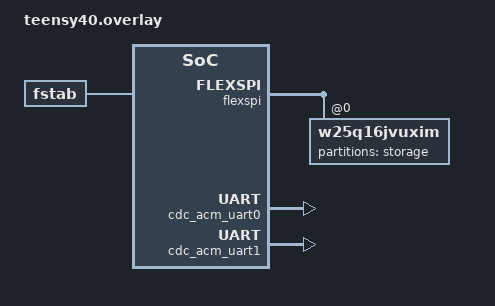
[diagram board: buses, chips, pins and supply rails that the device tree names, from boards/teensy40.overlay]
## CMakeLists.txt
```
cmake_minimum_required(VERSION 3.13.1)
find_package(Zephyr REQUIRED HINTS $ENV{ZEPHYR_BASE})
project(klutshnik LANGUAGES C)

target_sources(app PRIVATE src/main.c src/ble.c src/uart.c src/shell.c)
```

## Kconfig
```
# Copyright (c) 2021 Nordic Semiconductor ASA
# SPDX-License-Identifier: Apache-2.0
#
# This file is the application Kconfig entry point. All application Kconfig
# options can be defined here or included via other application Kconfig files.
# You can browse these options using the west targets menuconfig (terminal) or
# guiconfig (GUI).

choice KLUTSHNIK_INTERFACE
        prompt "USE BLE or USB for klutshnik operations"
        help
          Select which communication medium to use with your klutshnik device

 config KLUTSHNIK_BLE
         bool "Whether to enable BLE interface of klutshnik"
         depends on BT_PERIPHERAL
         help
           If set to true, klutshnik will use Bluetooth LE for primary communication with the client.

 config KLUTSHNIK_USB_CDC
         bool "wether to enable the USB CDC/ACM interface of klutshnik"

endchoice # KLUTSHNIK_INTERFACE

menu "Zephyr"
source "Kconfig.zephyr"
endmenu

module = KLUTSHNIK
module-str = Klutshnik module
source "subsys/logging/Kconfig.template.log_config"
```

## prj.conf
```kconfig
# Copyright (c) 2021 Nordic Semiconductor ASA
# SPDX-License-Identifier: Apache-2.0
#
# This file contains selected Kconfig options for the application.

CONFIG_LIBSODIUM=y
CONFIG_LIBOPRF=y
CONFIG_ENTROPY_GENERATOR=y
CONFIG_ENTROPY_DEVICE_RANDOM_GENERATOR=y
CONFIG_LIBSODIUM_USE_ZEPHYR_RANDOM=y
CONFIG_LIBSODIUM_FULL=y
#CONFIG_LIBSODIUM_CUSTOM_MEMORY=y
CONFIG_PICOLIBC_MODULE=y
#CONFIG_BOOTLOADER_MCUBOOT=y
CONFIG_BASE64=y
CONFIG_REBOOT=y
#CONFIG_DEBUG_THREAD_INFO=y
CONFIG_MAIN_STACK_SIZE=32768

CONFIG_ESP32_BT_CONTROLLER_STACK_SIZE=16384
CONFIG_BT=y
CONFIG_BT_PERIPHERAL=y
CONFIG_BT_ZEPHYR_NUS=y
CONFIG_BT_MAX_CONN=2
CONFIG_BT_MAX_PAIRED=1
CONFIG_BT_DEVICE_NAME="klutshnik ble"
CONFIG_BT_EXT_ADV=y

# Enable bonding
#CONFIG_BT_SETTINGS=y
CONFIG_FLASH=y
CONFIG_FLASH_PAGE_LAYOUT=y
CONFIG_FLASH_MAP=y
CONFIG_FILE_SYSTEM=y
CONFIG_FILE_SYSTEM_LITTLEFS=y
CONFIG_FILE_SYSTEM_MKFS=y

#CONFIG_SYSTEM_WORKQUEUE_STACK_SIZE=2048

#CONFIG_HEAP_MEM_POOL_SIZE=1536

CONFIG_THREAD_NAME=y
CONFIG_THREAD_ANALYZER=y
CONFIG_THREAD_ANALYZER_AUTO=y
CONFIG_THREAD_ANALYZER_RUN_UNLOCKED=y
CONFIG_THREAD_ANALYZER_USE_PRINTK=y

# Disable Bluetooth features not needed
CONFIG_BT_DEBUG_NONE=y
CONFIG_BT_ASSERT=n
CONFIG_BT_DATA_LEN_UPDATE=n
CONFIG_BT_PHY_UPDATE=n
CONFIG_BT_GATT_CACHING=n
CONFIG_BT_GATT_SERVICE_CHANGED=n
CONFIG_BT_GAP_PERIPHERAL_PREF_PARAMS=n
#CONFIG_BT_SETTINGS_CCC_LAZY_LOADING=y
#CONFIG_BT_GATT_ENFORCE_SUBSCRIPTION=n
CONFIG_BT_HCI_VS=n

# Disable Bluetooth controller features not needed
CONFIG_BT_CTLR_PRIVACY=n
CONFIG_BT_CTLR_PHY_2M=n

# Reduce Bluetooth buffers
CONFIG_BT_BUF_EVT_DISCARDABLE_COUNT=1
#CONFIG_BT_BUF_EVT_DISCARDABLE_SIZE=43
CONFIG_BT_BUF_EVT_DISCARDABLE_SIZE=58
CONFIG_BT_BUF_EVT_RX_COUNT=4

CONFIG_BT_CONN_TX_MAX=3
CONFIG_BT_L2CAP_TX_BUF_COUNT=2
CONFIG_BT_ATT_TX_COUNT=2
CONFIG_BT_BUF_ACL_TX_COUNT=3
CONFIG_BT_BUF_ACL_TX_SIZE=27

#CONFIG_NET_BUF_LOG=y
#CONFIG_NET_BUF_LOG_LEVEL_WRN=y
#CONFIG_NET_BUF_POOL_USAGE=y
CONFIG_LOG=y
CONFIG_LOG_DEFAULT_LEVEL=2
#CONFIG_LOG_BACKEND_UART=y
CONFIG_KLUTSHNIK_LOG_LEVEL_INF=y
CONFIG_KLUTSHNIK_LOG_LEVEL_DBG=y
CONFIG_LOG_PRINTK=y
CONFIG_LOG_BUFFER_SIZE=4096
#CONFIG_LOG_MODE_IMMEDIATE=y

#CONFIG_STDOUT_CONSOLE=y
#CONFIG_USB_DEVICE_STACK=y
#CONFIG_USB_DEVICE_BOS=y
#CONFIG_USB_DEVICE_PRODUCT="Klutshnik for Zephyr"
#CONFIG_USB_DEVICE_PID=0x000A
#CONFIG_UART_INTERRUPT_DRIVEN=y
#CONFIG_UART_LINE_CTRL=y
#CONFIG_USB_DRIVER_LOG_LEVEL_ERR=y
#CONFIG_USB_DEVICE_LOG_LEVEL_ERR=y
#CONFIG_USB_DEVICE_INITIALIZE_AT_BOOT=n
#CONFIG_SERIAL=y
#CONFIG_USB_MASS_STORAGE=y
#CONFIG_USB_MASS_STORAGE_LOG_LEVEL_ERR=y

#CONFIG_USBD_MSC_CLASS=y
#CONFIG_USBD_MSC_LUNS_PER_INSTANCE=3
#CONFIG_USBD_LOG_LEVEL_WRN=y
#CONFIG_UDC_DRIVER_LOG_LEVEL_WRN=y

# hardening
#CONFIG_BOOT_BANNER=n
#CONFIG_STACK_CANARIES=y
#CONFIG_STACK_POINTER_RANDOM=100
#CONFIG_PRINTK=n
#CONFIG_EARLY_CONSOLE=n
#CONFIG_OVERRIDE_FRAME_POINTER_DEFAULT=y
#CONFIG_LOG=n
#CONFIG_BUILD_OUTPUT_STRIPPED=y
#CONFIG_FAULT_DUMP=0
#CONFIG_STACK_SENTINEL=y

#shell
#CONFIG_SHELL=y
#CONFIG_FILE_SYSTEM_SHELL=y

#CONFIG_UART_INTERRUPT_DRIVEN=y
```

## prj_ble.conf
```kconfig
# Copyright (c) 2021 Nordic Semiconductor ASA
# SPDX-License-Identifier: Apache-2.0
#
# This file contains selected Kconfig options for the application.

CONFIG_LIBSODIUM=y
CONFIG_LIBOPRF=y
CONFIG_ENTROPY_GENERATOR=y
CONFIG_ENTROPY_DEVICE_RANDOM_GENERATOR=y
CONFIG_LIBSODIUM_USE_ZEPHYR_RANDOM=y
CONFIG_LIBSODIUM_FULL=y
#CONFIG_LIBSODIUM_CUSTOM_MEMORY=y
CONFIG_PICOLIBC_MODULE=y
#CONFIG_BOOTLOADER_MCUBOOT=y
CONFIG_BASE64=y
CONFIG_REBOOT=y
CONFIG_MAIN_STACK_SIZE=65536

# todo check if this should come from boards/xiao_esp32s3_procpu.conf instead
CONFIG_ESP32_BT_CONTROLLER_STACK_SIZE=16384
CONFIG_BT=y
CONFIG_BT_PERIPHERAL=y
CONFIG_BT_ZEPHYR_NUS=y
CONFIG_BT_MAX_CONN=2
CONFIG_BT_MAX_PAIRED=1
CONFIG_BT_DEVICE_NAME="klutshnik ble"
CONFIG_BT_EXT_ADV=y

# Enable bonding
#CONFIG_SETTINGS=y
#CONFIG_BT_SETTINGS=y
CONFIG_FLASH=y
CONFIG_FLASH_PAGE_LAYOUT=y
CONFIG_FLASH_MAP=y
CONFIG_FILE_SYSTEM=y
CONFIG_FILE_SYSTEM_LITTLEFS=y
CONFIG_FILE_SYSTEM_MKFS=y

#CONFIG_SYSTEM_WORKQUEUE_STACK_SIZE=2048

CONFIG_HEAP_MEM_POOL_SIZE=65536

# Disable Bluetooth features not needed
CONFIG_BT_DEBUG_NONE=y
CONFIG_BT_ASSERT=n
CONFIG_BT_DATA_LEN_UPDATE=n
CONFIG_BT_PHY_UPDATE=n
CONFIG_BT_GATT_CACHING=n
CONFIG_BT_GATT_SERVICE_CHANGED=n
CONFIG_BT_GAP_PERIPHERAL_PREF_PARAMS=n
#CONFIG_BT_SETTINGS_CCC_LAZY_LOADING=y
#CONFIG_BT_GATT_ENFORCE_SUBSCRIPTION=n
CONFIG_BT_HCI_VS=n

# Disable Bluetooth controller features not needed
CONFIG_BT_CTLR_PRIVACY=n
CONFIG_BT_PRIVACY=n
CONFIG_BT_CTLR_PHY_2M=n

# Reduce Bluetooth buffers
CONFIG_BT_BUF_EVT_DISCARDABLE_COUNT=1
#CONFIG_BT_BUF_EVT_DISCARDABLE_SIZE=43
CONFIG_BT_BUF_EVT_DISCARDABLE_SIZE=58
CONFIG_BT_BUF_EVT_RX_COUNT=4

CONFIG_BT_CONN_TX_MAX=3
CONFIG_BT_L2CAP_TX_BUF_COUNT=2
CONFIG_BT_ATT_TX_COUNT=2
CONFIG_BT_BUF_ACL_TX_COUNT=3
CONFIG_BT_BUF_ACL_TX_SIZE=27

CONFIG_LOG=y
CONFIG_LOG_DEFAULT_LEVEL=2
#CONFIG_LOG_BACKEND_UART=y
CONFIG_KLUTSHNIK_LOG_LEVEL_INF=y
CONFIG_KLUTSHNIK_LOG_LEVEL_DBG=y
CONFIG_LOG_PRINTK=y
CONFIG_LOG_BUFFER_SIZE=4096
#CONFIG_LOG_MODE_IMMEDIATE=y

#CONFIG_STDOUT_CONSOLE=y
#CONFIG_USB_DEVICE_STACK=y

# hardening
#CONFIG_BOOT_BANNER=n
CONFIG_STACK_CANARIES=y
CONFIG_STACK_POINTER_RANDOM=100
#CONFIG_PRINTK=n
#CONFIG_EARLY_CONSOLE=n
#CONFIG_OVERRIDE_FRAME_POINTER_DEFAULT=y
#CONFIG_LOG=n
#CONFIG_BUILD_OUTPUT_STRIPPED=y
#CONFIG_FAULT_DUMP=0
CONFIG_STACK_SENTINEL=y

#shell
CONFIG_SHELL=y
CONFIG_SHELL_MINIMAL=y
CONFIG_SHELL_TAB=y
CONFIG_SHELL_TAB_AUTOCOMPLETION=y
CONFIG_SHELL_HISTORY=y
CONFIG_SHELL_METAKEYS=y
CONFIG_SHELL_LOG_BACKEND=y
CONFIG_FILE_SYSTEM_SHELL=y
CONFIG_SHELL_STACK_SIZE=4096
CONFIG_SHELL_PROMPT_UART="klutshnik # "
CONFIG_SHELL_DEFAULT_TERMINAL_WIDTH=128
CONFIG_SHELL_BACKEND_SERIAL_RX_RING_BUFFER_SIZE=128

#CONFIG_KERNEL_SHELL=y
#CONFIG_SYS_HEAP_RUNTIME_STATS=y
#CONFIG_SYS_HEAP_LISTENER=y
#CONFIG_DEBUG_THREAD_INFO=y

# thread analyzer
#CONFIG_THREAD_NAME=y
#CONFIG_THREAD_ANALYZER=y
#CONFIG_THREAD_ANALYZER_AUTO=y
#CONFIG_THREAD_ANALYZER_RUN_UNLOCKED=y
#CONFIG_THREAD_ANALYZER_USE_PRINTK=y

#CONFIG_NET_BUF_LOG=y
#CONFIG_NET_BUF_LOG_LEVEL_WRN=y
#CONFIG_NET_BUF_POOL_USAGE=y
```

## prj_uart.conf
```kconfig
# Copyright (c) 2021 Nordic Semiconductor ASA
# SPDX-License-Identifier: Apache-2.0
#
# This file contains selected Kconfig options for the application.

CONFIG_LIBSODIUM=y
CONFIG_LIBOPRF=y
CONFIG_ENTROPY_GENERATOR=y
CONFIG_ENTROPY_DEVICE_RANDOM_GENERATOR=y
CONFIG_LIBSODIUM_USE_ZEPHYR_RANDOM=y
CONFIG_LIBSODIUM_FULL=y
#CONFIG_LIBSODIUM_CUSTOM_MEMORY=y
CONFIG_PICOLIBC_MODULE=y
#CONFIG_BOOTLOADER_MCUBOOT=y
CONFIG_BASE64=y
CONFIG_REBOOT=y
CONFIG_MAIN_STACK_SIZE=65536

CONFIG_FLASH=y
CONFIG_FLASH_PAGE_LAYOUT=y
CONFIG_FLASH_MAP=y
CONFIG_FILE_SYSTEM=y
CONFIG_FILE_SYSTEM_LITTLEFS=y
CONFIG_FILE_SYSTEM_MKFS=y

#CONFIG_SYSTEM_WORKQUEUE_STACK_SIZE=2048

CONFIG_HEAP_MEM_POOL_SIZE=65536



CONFIG_LOG=y
CONFIG_LOG_DEFAULT_LEVEL=2
#CONFIG_LOG_BACKEND_UART=y
CONFIG_KLUTSHNIK_LOG_LEVEL_INF=y
CONFIG_KLUTSHNIK_LOG_LEVEL_DBG=y
CONFIG_LOG_PRINTK=y
CONFIG_LOG_BUFFER_SIZE=4096
#CONFIG_LOG_MODE_IMMEDIATE=y

#CONFIG_STDOUT_CONSOLE=y
CONFIG_USB_DEVICE_STACK=y
CONFIG_USB_CDC_ACM=y
#CONFIG_USB_DEVICE_BOS=y
CONFIG_USB_DEVICE_PRODUCT="Klutshnik for Zephyr"
CONFIG_USB_DEVICE_PID=0x000A
CONFIG_UART_INTERRUPT_DRIVEN=y
CONFIG_UART_LINE_CTRL=y
#CONFIG_USB_DRIVER_LOG_LEVEL_ERR=y
#CONFIG_USB_DEVICE_LOG_LEVEL_ERR=y
CONFIG_USB_DEVICE_INITIALIZE_AT_BOOT=y
CONFIG_SERIAL=y
#CONFIG_USBD_CDC_ACM_STACK_SIZE
#CONFIG_USBD_CDC_ACM_WORKQUEUE
CONFIG_USB_CDC_ACM_RINGBUF_SIZE=8129

# hardening
#CONFIG_BOOT_BANNER=n
CONFIG_STACK_CANARIES=y
CONFIG_STACK_POINTER_RANDOM=100
#CONFIG_PRINTK=n
#CONFIG_EARLY_CONSOLE=n
#CONFIG_OVERRIDE_FRAME_POINTER_DEFAULT=y
#CONFIG_LOG=n
#CONFIG_BUILD_OUTPUT_STRIPPED=y
#CONFIG_FAULT_DUMP=0
CONFIG_STACK_SENTINEL=y

#shell
CONFIG_SHELL=y
CONFIG_SHELL_MINIMAL=y
CONFIG_SHELL_TAB=y
CONFIG_SHELL_TAB_AUTOCOMPLETION=y
CONFIG_SHELL_HISTORY=y
CONFIG_SHELL_METAKEYS=y
CONFIG_SHELL_LOG_BACKEND=y
CONFIG_FILE_SYSTEM_SHELL=y
CONFIG_SHELL_STACK_SIZE=4096
CONFIG_SHELL_PROMPT_UART="klutshnik # "
CONFIG_SHELL_DEFAULT_TERMINAL_WIDTH=128
CONFIG_SHELL_BACKEND_SERIAL_RX_RING_BUFFER_SIZE=128

#CONFIG_KERNEL_SHELL=y
#CONFIG_SYS_HEAP_RUNTIME_STATS=y
#CONFIG_SYS_HEAP_LISTENER=y
#CONFIG_DEBUG_THREAD_INFO=y

# thread analyzer
#CONFIG_THREAD_NAME=y
#CONFIG_THREAD_ANALYZER=y
#CONFIG_THREAD_ANALYZER_AUTO=y
#CONFIG_THREAD_ANALYZER_RUN_UNLOCKED=y
#CONFIG_THREAD_ANALYZER_USE_PRINTK=y

#CONFIG_NET_BUF_LOG=y
#CONFIG_NET_BUF_LOG_LEVEL_WRN=y
#CONFIG_NET_BUF_POOL_USAGE=y
```

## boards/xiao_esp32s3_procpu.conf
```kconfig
CONFIG_ESP32_BT_CONTROLLER_STACK_SIZE=16384
```

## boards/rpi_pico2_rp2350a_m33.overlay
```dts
///delete-node/ &code_partition;

/ {
 fstab {
  compatible = "zephyr,fstab";
  lfs1: lfs1 {
      compatible = "zephyr,fstab,littlefs";
      mount-point = "/lfs";
      partition = <&lfs1_partition>;
      automount;
      read-size = <16>;
      prog-size = <16>;
      cache-size = <256>;
      lookahead-size = <32>;
      block-cycles = <512>;
  };
 };
 chosen {
    //zephyr,console = &cdc_acm_uart0;
    zephyr,shell-uart = &cdc_acm_uart0;
    zephyr,flash-controller = &qmi;
	 zephyr,flash = &flash0;
 };
};

&flash0 {
	partitions {
      compatible = "fixed-partitions";
      #address-cells = <1>;
      #size-cells = <1>;

		/* Reserved memory for an image definition block. The block is much
		* smaller than 256 bytes, but in practice the linker places the vector
		* table at a much larger alignment offset.
		*/
		image_def: partition@0 {
			label = "image_def";
			reg = <0x00000000 0x100>;
			read-only;
		};

		/*
		* Usable flash. Starts at 0x100, after the image definition block.
		* The partition size is 4MB minus the 0x100 bytes taken by the
		* image definition.
		*/
		code_partition: partition@100 {
			label = "code-partition";
			reg = <0x100 (DT_SIZE_M(2) - 0x100)>;
			read-only;
		};

      /* Use second half of flash for the filesystem. */
      lfs1_partition: partition@200000 {
         label = "storage";
         reg = <0x200000 DT_SIZE_M(2)>;
		};
	};
};

&zephyr_udc0 {
	cdc_acm_uart0: cdc_acm_uart0 {
		compatible = "zephyr,cdc-acm-uart";
	};
	cdc_acm_uart1: cdc_acm_uart1 {
		compatible = "zephyr,cdc-acm-uart";
	};
};
```

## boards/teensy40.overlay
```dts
/ {
 fstab {
     compatible = "zephyr,fstab";
     lfs1: lfs1 {
         compatible = "zephyr,fstab,littlefs";
         mount-point = "/lfs";
         partition = <&lfs1_partition>;
         automount;
         read-size = <16>;
         prog-size = <16>;
         cache-size = <256>;
         lookahead-size = <32>;
         block-cycles = <512>;
     };
 };
 chosen {
    //zephyr,console = &cdc_acm_uart0;
    zephyr,shell-uart = &cdc_acm_uart0;
 };
};

/* 64MB flash */
&flexspi {
	/* WINBOND flash memory*/
	w25q16jvuxim: w25q16jvuxim@0 {
      partitions {
         compatible = "fixed-partitions";
         #address-cells = <1>;
         #size-cells = <1>;

         /* Use second half of flash for the filesystem. */
         lfs1_partition: partition@400000 {
            label = "storage";
            reg = <0x100000 DT_SIZE_M(1)>;
         };
      };
	};
};

&zephyr_udc0 {
	cdc_acm_uart0: cdc_acm_uart0 {
		compatible = "zephyr,cdc-acm-uart";
	};
	cdc_acm_uart1: cdc_acm_uart1 {
		compatible = "zephyr,cdc-acm-uart";
	};
};
```

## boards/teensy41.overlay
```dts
/ {
 fstab {
     compatible = "zephyr,fstab";
     lfs1: lfs1 {
         compatible = "zephyr,fstab,littlefs";
         mount-point = "/lfs";
         partition = <&lfs1_partition>;
         automount;
         read-size = <16>;
         prog-size = <16>;
         cache-size = <256>;
         lookahead-size = <32>;
         block-cycles = <512>;
     };
 };
 chosen {
    //zephyr,console = &cdc_acm_uart0;
    zephyr,shell-uart = &cdc_acm_uart0;
 };
};

/* 64MB flash */
&flexspi {
	/* WINBOND flash memory*/
	w25q64jvxgim: w25q64jvxgim@0 {
      partitions {
         compatible = "fixed-partitions";
         #address-cells = <1>;
         #size-cells = <1>;

         /* Use second half of flash for the filesystem. */
         lfs1_partition: partition@400000 {
            label = "storage";
            reg = <0x400000 DT_SIZE_M(4)>;
         };
      };
	};
};

&zephyr_udc0 {
	cdc_acm_uart0: cdc_acm_uart0 {
		compatible = "zephyr,cdc-acm-uart";
	};
	cdc_acm_uart1: cdc_acm_uart1 {
		compatible = "zephyr,cdc-acm-uart";
	};
};
```

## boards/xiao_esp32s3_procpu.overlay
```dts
/delete-node/ &storage_partition;

/ {
 fstab {
     compatible = "zephyr,fstab";
     lfs1: lfs1 {
         compatible = "zephyr,fstab,littlefs";
         mount-point = "/lfs";
         partition = <&lfs1_partition>;
         automount;
         read-size = <16>;
         prog-size = <16>;
         cache-size = <256>;
         lookahead-size = <32>;
         block-cycles = <512>;
     };
 };
};

/* 4MB flash */
&flash0 {
   reg = <0x0 DT_SIZE_M(8)>;
   partitions {
      compatible = "fixed-partitions";
      #address-cells = <1>;
      #size-cells = <1>;

      /* Use second half of flash for the filesystem. */
      lfs1_partition: partition@400000 {
         label = "storage";
         reg = <0x400000 DT_SIZE_M(4)>;
      };
   };
};
```

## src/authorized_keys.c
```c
static const AuthKeys authkeys[] = {
   { .keyid = { 0x39, 0x4c, 0x6d, 0x8a, 0x94, 0xa6, 0x6e, 0x85, 0xd0, 0x2c, 0x21, 0x47, 0x12, 0xae, 0x91, 0xce, 0x7b, 0xe4, 0x25, 0xfb, 0x26, 0xef, 0xd1, 0x3b, 0xa1, 0x84, 0x94, 0x51, 0x15, 0xdf, 0xed, 0xa5 },
     .ltsig = { 0xf2, 0xe1, 0xf4, 0xfa, 0xb4, 0x79, 0x28, 0xd7, 0x5b, 0x24, 0xfa, 0xfb, 0xf8, 0x04, 0x4e, 0x6c, 0x73, 0xc4, 0xbb, 0x85, 0x7f, 0x77, 0xaa, 0xaa, 0xa8, 0x3c, 0x61, 0x7a, 0xc8, 0xe5, 0xd9, 0xc8 },
     .noise = { 0xa1, 0x00, 0x08, 0xe6, 0x54, 0xcc, 0x2f, 0x71, 0xb0, 0x7e, 0x2e, 0x14, 0x2f, 0x3b, 0xb0, 0x05, 0xec, 0x14, 0x16, 0xf7, 0x6a, 0x7e, 0xc5, 0x03, 0xdb, 0x16, 0x1a, 0x82, 0xa1, 0x7f, 0x2f, 0x34 }},
   { .keyid = { 0x66, 0x05, 0xe3, 0x9d, 0x22, 0x54, 0x36, 0x98, 0xb2, 0x7e, 0x0d, 0x77, 0x86, 0x3f, 0x2b, 0x65, 0xfd, 0x7d, 0xf2, 0xf7, 0xfe, 0x9c, 0x3f, 0x43, 0x09, 0xcd, 0xc6, 0x5b, 0xde, 0x1a, 0x53, 0x61 },
     .ltsig = { 0xcf, 0x2f, 0x5c, 0x78, 0x4c, 0x73, 0x85, 0x70, 0x7c, 0xcc, 0xaf, 0x45, 0x43, 0x0b, 0xfb, 0x8e, 0x86, 0x6c, 0x55, 0x74, 0xdf, 0x23, 0x6a, 0x7e, 0x0c, 0x43, 0x19, 0x63, 0x21, 0xbd, 0xea, 0xe9 },
     .noise = { 0x0b, 0x76, 0xae, 0xe6, 0x24, 0xcc, 0x99, 0x93, 0x99, 0x63, 0x7b, 0x45, 0x85, 0xe8, 0xe6, 0x1a, 0x1c, 0x2f, 0xc2, 0x08, 0x97, 0x40, 0x05, 0xf8, 0x7c, 0xad, 0xb1, 0x9e, 0xdc, 0x9b, 0x6a, 0x05 }},
   { .keyid = { 0x37, 0xb1, 0x13, 0x7e, 0xdc, 0x81, 0xf0, 0xcf, 0x27, 0x5b, 0xf2, 0x67, 0x86, 0xb2, 0x76, 0xaf, 0x6b, 0x07, 0xf9, 0x4e, 0x29, 0xf6, 0x85, 0xa4, 0x23, 0x5b, 0x07, 0x16, 0x7b, 0xc2, 0x5b, 0x4e },
     .ltsig = { 0xcd, 0x04, 0xf3, 0x98, 0x11, 0x91, 0x1d, 0x01, 0x01, 0x84, 0xe7, 0xce, 0x04, 0xdd, 0xd0, 0x61, 0xcb, 0x36, 0xa8, 0xb0, 0xa8, 0x53, 0x81, 0x77, 0xcf, 0x0a, 0xf0, 0x4d, 0xe0, 0x6c, 0x0c, 0x54 },
     .noise = { 0xc5, 0x8d, 0x85, 0x3c, 0xaf, 0xdc, 0xbc, 0x31, 0x63, 0x0f, 0x3a, 0xd0, 0x5c, 0xf1, 0x4f, 0x7d, 0xe5, 0xb0, 0x02, 0x9c, 0xff, 0xc9, 0x43, 0x2e, 0x25, 0xdb, 0xf2, 0x28, 0x87, 0xf2, 0x25, 0x20 }},
   { .keyid = { 0x92, 0x37, 0x87, 0x78, 0x05, 0x22, 0x13, 0x2a, 0xc3, 0x37, 0xe5, 0xd8, 0xf9, 0x63, 0xee, 0xbc, 0xbc, 0xa3, 0x70, 0x7f, 0x88, 0x76, 0xae, 0xb0, 0xba, 0xd1, 0xcb, 0x22, 0x2b, 0xe7, 0x87, 0x97 },
     .ltsig = { 0xe1, 0xc0, 0x61, 0x12, 0x76, 0x19, 0x38, 0xa7, 0x1a, 0x71, 0xd0, 0x07, 0xca, 0x38, 0x14, 0xe7, 0xbc, 0x1d, 0x18, 0x05, 0xa2, 0xd9, 0x60, 0xb1, 0xd1, 0xc9, 0xcd, 0x9a, 0xb8, 0xd8, 0x6f, 0x80 },
     .noise = { 0xdb, 0x05, 0xd5, 0x4f, 0xae, 0x6e, 0xa6, 0x13, 0x0b, 0x42, 0x64, 0xdd, 0x91, 0xbd, 0x39, 0x50, 0x71, 0x49, 0x86, 0xe7, 0xe1, 0x74, 0xe9, 0x7d, 0xc7, 0xf4, 0xad, 0x27, 0x6e, 0x34, 0xd8, 0x64 }},
   { .keyid = { 0x52, 0xa9, 0x75, 0x37, 0x2c, 0xbf, 0x8e, 0xdf, 0xd4, 0x49, 0x42, 0x8f, 0xfa, 0xc4, 0xa8, 0xfc, 0x97, 0x27, 0x75, 0xc8, 0x37, 0x95, 0x62, 0xa6, 0x31, 0xe3, 0x0f, 0x4d, 0x37, 0x5a, 0x9d, 0xaf },
     .ltsig = { 0xee, 0x2d, 0x62, 0xe1, 0xca, 0x0d, 0x7c, 0x4b, 0x9a, 0x81, 0xde, 0xa5, 0x89, 0x0e, 0x66, 0x5c, 0xf3, 0xf3, 0x81, 0x47, 0x4c, 0x94, 0x44, 0x2c, 0xdf, 0x0e, 0xd8, 0x7f, 0x5d, 0xbf, 0x58, 0xde },
     .noise = { 0x41, 0x4b, 0xe2, 0xcf, 0xa7, 0x03, 0xfe, 0xf7, 0xd9, 0xc3, 0xe3, 0x28, 0xd7, 0x92, 0x91, 0x01, 0xac, 0x75, 0xfb, 0x11, 0xe4, 0x2c, 0xa3, 0xd8, 0xc0, 0x04, 0x04, 0x77, 0xba, 0x35, 0xb5, 0x03 }},
   { .keyid = { 0x09, 0xc2, 0xec, 0xfe, 0x94, 0x48, 0xc7, 0xd2, 0x7f, 0x6a, 0xf1, 0x8c, 0x1d, 0x8e, 0x42, 0x38, 0xc3, 0x30, 0xa1, 0x32, 0x05, 0x98, 0x74, 0xbf, 0xed, 0x36, 0x36, 0x41, 0xba, 0x1e, 0xb2, 0x81 },
     .ltsig = { 0x67, 0xd4, 0x62, 0x80, 0xd0, 0x47, 0x79, 0x21, 0xf8, 0x1f, 0xf9, 0xa4, 0x21, 0xff, 0x86, 0x01, 0xee, 0xff, 0x85, 0x16, 0x70, 0xf4, 0xe0, 0xa4, 0x2b, 0x0b, 0xf5, 0x01, 0x71, 0x83, 0x72, 0x5e },
     .noise = { 0x87, 0x8c, 0x8e, 0x56, 0x5f, 0x3c, 0xb7, 0xc4, 0xbd, 0x16, 0x88, 0xbd, 0x7d, 0x5c, 0x52, 0xbe, 0x31, 0x69, 0xda, 0xf6, 0x5d, 0x5b, 0xe4, 0x14, 0xe9, 0xc3, 0x83, 0x11, 0x39, 0xe6, 0x4c, 0x13 }}
};
```

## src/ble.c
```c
/*
 * SPDX-FileCopyrightText: 2025, Marsiske Stefan
 * SPDX-License-Identifier: LGPL-3.0-or-later
 */

#ifdef CONFIG_KLUTSHNIK_BLE

#include <zephyr/bluetooth/bluetooth.h>
#include <zephyr/bluetooth/services/nus.h>
#include <zephyr/fs/fs.h>
#include <zephyr/logging/log.h>
#include <zephyr/logging/log_ctrl.h>
#include <zephyr/sys/reboot.h>

#include <stdlib.h>
#include "XK.h"

#include "klutshnik.h"

LOG_MODULE_REGISTER(klutshnik_ble, CONFIG_KLUTSHNIK_LOG_LEVEL);

#define MTU 20
#define DEVICE_NAME		CONFIG_BT_DEVICE_NAME
#define DEVICE_NAME_LEN	(sizeof(DEVICE_NAME) - 1)

static struct bt_conn *bt_c=NULL;

static const struct bt_data ad[] = {
	BT_DATA_BYTES(BT_DATA_FLAGS, (BT_LE_AD_GENERAL | BT_LE_AD_NO_BREDR)),
	BT_DATA(BT_DATA_NAME_COMPLETE, DEVICE_NAME, DEVICE_NAME_LEN),
};

static const struct bt_data sd[] = {
	BT_DATA_BYTES(BT_DATA_UUID128_ALL, BT_UUID_NUS_SRV_VAL),
};

static void notif_enabled(bool enabled, void *ctx) {
	ARG_UNUSED(ctx);
	LOG_INF("%s() - %s", __func__, (enabled ? "Enabled" : "Disabled"));
}

static void received(struct bt_conn *conn, const void *data, uint16_t len, void *ctx) {
	ARG_UNUSED(conn);
	ARG_UNUSED(ctx);

   if(kstate!=CONNECTED) {
     LOG_ERR("received %d bytes, but we are in disconnected state", len);
     return;
   }
   if(len + inbuf_end<sizeof(inbuf)) {
     //LOG_INF("received: memcpy(%p, %p, %d)", (void*) (inbuf+inbuf_end), (void*) data, len);
     memcpy(inbuf+inbuf_end, data, len);
     inbuf_end+=len;
   } else{
     LOG_ERR("inbuf full, dropping %d bytes", len);
   }
}

struct bt_nus_cb nus_listener = {
	.notif_enabled = notif_enabled,
	.received = received,
};

static void connected(struct bt_conn *conn, uint8_t err) {
  if (err) {
    LOG_ERR("Connection failed (err 0x%02x)", err);
  } else {
    const bt_addr_le_t *addr = bt_conn_get_dst (conn);
    LOG_INF("Connected to %02x-%02x-%02x-%02x-%02x-%02x",
            addr->a.val[0],addr->a.val[1],addr->a.val[2],addr->a.val[3],addr->a.val[4],addr->a.val[5]);
    kstate = CONNECTED;
    bt_c = conn;
  }
}

static void disconnected(struct bt_conn *conn, uint8_t reason) {
  const bt_addr_le_t *addr = bt_conn_get_dst (conn);
  LOG_INF("Disconnected from %02x-%02x-%02x-%02x-%02x-%02x (reason 0x%02x)",
          addr->a.val[0],addr->a.val[1],addr->a.val[2],addr->a.val[3],addr->a.val[4],addr->a.val[5], reason);
  kstate = DISCONNECTED;
  bt_c = NULL;
  inbuf_end=0;
  inbuf_start=0;
}

static void start_adv(void) {
   int err;

   err = bt_le_adv_start(/*BT_LE_ADV_CONN_FAST_1*/BT_LE_ADV_PARAM((BT_LE_ADV_OPT_CONN |
                                                                   BT_LE_ADV_OPT_USE_IDENTITY), /* Connectable advertising and use identity address */
                                                                  BT_GAP_ADV_FAST_INT_MIN_1, /* Min Advertising Interval 30 ms */
                                                                  BT_GAP_ADV_FAST_INT_MAX_1, /* Max Advertising Interval 60 ms */
                                                                  NULL), /* Set to NULL for undirected advertising */
                         ad, ARRAY_SIZE(ad), sd, ARRAY_SIZE(sd));
   if (err) {
      LOG_ERR("Advertising failed to start (err %d)", err);
   } else {
      LOG_DBG("Advertising successfully started");
   }
}


BT_CONN_CB_DEFINE(conn_callbacks) = {
    .connected = connected,
    .disconnected = disconnected,
    .recycled = start_adv,
};

int send_plaintext(const uint8_t *msg, const size_t len) {
  //LOG_DBG("nus_send: %d", len);
  for(size_t ptr = 0;ptr<len;ptr+=20) {
    int err=0;
    const int psize=((len-ptr)>20)?20:(len-ptr);
    do {
      err = bt_nus_send(bt_c, &msg[ptr], psize);
    } while (err == -EAGAIN);
    if(err<0) return err;
  }
  //LOG_DBG("nus_send: done", len);
  return 0;
}

int send(const uint8_t *msg, const size_t msg_len) {
  //LOG_DBG("send: %d", msg_len);
  Noise_XK_encap_message_t *encap_msg=NULL;

  encap_msg = Noise_XK_pack_message_with_conf_level(NOISE_XK_CONF_STRONG_FORWARD_SECRECY, msg_len, (uint8_t*) msg);
  if(encap_msg==NULL) {
    LOG_ERR("send encap_msg==NULL");
    return -1;
  }

  Noise_XK_rcode res;
  uint8_t *cipher_msg;
  uint32_t cipher_msg_len;

  res = Noise_XK_session_write(encap_msg, session, &cipher_msg_len, &cipher_msg);
  Noise_XK_encap_message_p_free(encap_msg);
  if(!Noise_XK_rcode_is_success(res)) {
    LOG_ERR("failed to wrap encrypted message");
    return -1;
  }

  int err= send_plaintext(cipher_msg, cipher_msg_len);
  if (cipher_msg_len > 0) free(cipher_msg);
  if(err == -ENOTCONN) {
    Noise_XK_session_free(session);
    session=NULL;
    Noise_XK_device_free(dev);
    dev=NULL;
    return err;
  } else if (err < 0) {
    LOG_ERR("error sending msg: %d", err);
    log_flush();
    k_sleep(K_MSEC(50));
    sys_reboot(SYS_REBOOT_COLD);
  }

  //LOG_DBG("sent", msg_len);
  return err;
}

int send_pkt(const uint8_t *msg, const size_t msg_len) {
  uint8_t size[2] = { (msg_len >> 8) & 0xff, msg_len & 0xff } ;
  int ret = send(size, 2);
  if(ret < 0) {
    LOG_ERR("failed to send size of message");
    return ret;
  }
  ret = send(msg, msg_len);
  if(ret < 0) {
    LOG_ERR("failed to send message");
    return ret;
  }
  return 0;
}

int read(size_t size, uint8_t **buf) {
  int64_t timeout = 3;
  int64_t start = k_uptime_get();
  size_t plen = 0;
  while(1) {
    if(kstate!=CONNECTED) return -ENOTCONN;
    if (plen == 0 && inbuf_end-inbuf_start>2) {
      plen = (inbuf[inbuf_start]<<8 | inbuf[inbuf_start+1]);
      if(plen >= sizeof(inbuf) - inbuf_start) return -EOVERFLOW;
    }
    if(size!=0) {
      if(inbuf_end-inbuf_start>=size+2+16) {
        if(plen==0 || plen!=size+16) {
          LOG_ERR("E plen: %d, size+16 = %d", plen, size+16);
          return -EMSGSIZE;
        }
        break;
      }
    } else {
      if(plen > 0 && plen <= inbuf_end-inbuf_start) {
        size = plen - 16;
        break;
      }
    }
    int64_t startcopy=start;
    if( k_uptime_delta(&startcopy)/MSEC_PER_SEC > timeout) return -ETIMEDOUT;
    k_sleep(K_MSEC(10));
  }

  Noise_XK_encap_message_t *encap_msg;
  Noise_XK_rcode res;
  uint32_t plain_msg_len;

  res = Noise_XK_session_read(&encap_msg, session, size+16, inbuf+inbuf_start+2);
  if(!Noise_XK_rcode_is_success(res)) {
    LOG_ERR("failed to noise pkt");
    return -1;
  }
  if(!Noise_XK_unpack_message_with_auth_level(&plain_msg_len, buf, NOISE_XK_AUTH_KNOWN_SENDER_NO_KCI, encap_msg)) {
    LOG_ERR("failed to unpack noise pkt");
    Noise_XK_encap_message_p_free(encap_msg);
    return -1;
  }
  Noise_XK_encap_message_p_free(encap_msg);
  if(plain_msg_len!=size) {
    LOG_ERR("pml != s : %d != %d", plain_msg_len, size);
    return -EMSGSIZE;
  }

  inbuf_start += plen+2;
  if(inbuf_start == inbuf_end) {
    inbuf_start=0;
    inbuf_end=0;
  } else if(inbuf_start > inbuf_end) return -EINVAL;

  return plain_msg_len;
}

void reset_ble(void) {
  int err;
  // try switching it off and on again.
  err = bt_le_adv_stop();
  if(err) {
    LOG_ERR("failed to stop advertising: %d\nrebooting...", err);
    log_flush();
    k_sleep(K_MSEC(50));
    sys_reboot(SYS_REBOOT_COLD);
  }
  err = bt_disable();
  if(err) {
    LOG_ERR("failed to disable bt: %d\nrebooting...", err);
    log_flush();
    k_sleep(K_MSEC(50));
    sys_reboot(SYS_REBOOT_COLD);
  }
  inbuf_end=0;
  inbuf_start=0;
  kstate=DISCONNECTED;
  // start again
  err = bt_enable(NULL);
  if (err) {
    LOG_ERR("Failed to enable bluetooth: %d\nrebooting...", err);
    log_flush();
    k_sleep(K_MSEC(50));
    sys_reboot(SYS_REBOOT_COLD);
  }
  start_adv();
}

int ble_disconnect(void) {
  if(bt_c==NULL) return -ENOTCONN;
  return bt_conn_disconnect(bt_c, BT_HCI_ERR_REMOTE_USER_TERM_CONN);
}

int ble_init(CFG *cfg) {
  int err = bt_enable(NULL);
  if (err) {
     LOG_WRN("Failed to enable bluetooth: %d", err);
     return err;
  }

  uint8_t tmp[32];
  Noise_XK_dh_secret_to_public(tmp, cfg->noise_sk);
  printb64("noise pk",32,tmp);
  crypto_sign_ed25519_sk_to_pk(tmp,cfg->ltsig_sk);
  printb64("ltsig pk",32,tmp);

  err = bt_nus_cb_register(&nus_listener, NULL);
  if (err) {
     LOG_WRN("Failed to register NUS callback: %d", err);
     return err;
  }

  start_adv();

  char addr_s[BT_ADDR_LE_STR_LEN];

  struct bt_le_oob oob;
  err = bt_le_oob_get_local(BT_ID_DEFAULT, &oob);
  if (err) {
    LOG_ERR("Failed to get OOB data (err %d)\n", err);
    return err;
  }
  bt_addr_le_to_str(&oob.addr, addr_s, sizeof(addr_s));
  //bt_addr_le_t addr = {0};
  //size_t count = 1;
  //bt_id_get(&addr, &count);
  //bt_addr_le_to_str(&addr, addr_s, sizeof(addr_s));
  LOG_INF("MAC address: %s", addr_s);

  kstate = DISCONNECTED;
  return 0;
}

#endif // CONFIG_KLUTSHNIK_BLE
```

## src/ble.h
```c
#ifndef KLUTSHNIK_BLE_H
#define KLUTSHNIK_BLE_H

#include "klutshnik.h"

int ble_init(CFG *cfg);
void reset_ble(void);
int send_plaintext(const uint8_t *msg, const size_t len);
int ble_disconnect(void);


#endif // KLUTSHNIK_BLE_H
```

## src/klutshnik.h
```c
#ifndef KLUTSHNIK_H
#define KLUTSHNIK_H

#include <stdint.h>
#include <sodium.h>
#include "XK.h"

typedef enum {
  DISCONNECTED,
  CONNECTED,
  //SECURE
} KlutshnikState;

typedef struct {
  uint8_t noise_sk[32];
  uint8_t ltsig_sk[crypto_sign_SECRETKEYBYTES];
  uint8_t rec_salt[32];
} CFG;

typedef struct {
  char *path;
  size_t min;
} InitFiles;

typedef struct {
  uint32_t refs;
  uint8_t key[32];
} __attribute__((__packed__)) NoiseRec;

extern const InitFiles init_files[];

extern KlutshnikState kstate;

extern Noise_XK_session_t *session;
extern Noise_XK_device_t *dev;

#define inbuf_capacity (1024*32)
extern uint8_t inbuf[inbuf_capacity];
extern int inbuf_end;
extern int inbuf_start;

int send(const uint8_t *msg, const size_t msg_len);
int send_pkt(const uint8_t *msg, const size_t msg_len);
int send_plaintext(const uint8_t *msg, const size_t msg_len);
int read(size_t size, uint8_t **buf);
void printb64(const char* prefix, const size_t buf_len, const uint8_t *buf);
int load(const char* path, const size_t buf_len, uint8_t *buf);
int save(const char *path, const size_t key_len, uint8_t *key, const int open_flags);
int init_is_incomplete(void);

#endif // KLUTSHNIK_H
```

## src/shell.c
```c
/*
 * SPDX-FileCopyrightText: 2025, Marsiske Stefan
 * SPDX-License-Identifier: LGPL-3.0-or-later
 */

#include <zephyr/fs/fs.h>
#include <zephyr/shell/shell.h>
#include <zephyr/sys/base64.h>
#include <zephyr/drivers/entropy.h>
#ifdef CONFIG_KLUTSHNIK_BLE
#include <zephyr/bluetooth/bluetooth.h>
#endif

#include <sodium.h>
#include "klutshnik.h"
#include "XK.h"

// todo log(in|out) commands based on challenge-response signed by owner_key

static int getcfg_cmd_handler(const struct shell *sh, size_t argc, char **argv, void *data) {
  int cfgtype = (int)data;

  switch(cfgtype) {
  case 1: {
    uint8_t ltsig_pk[crypto_sign_PUBLICKEYBYTES];
    uint8_t ltsig_seed[crypto_sign_SEEDBYTES];
    if(0!=load("/lfs/cfg/ltsig_seed", crypto_sign_SEEDBYTES, ltsig_seed)) {
      shell_error(sh, "E failed to init ltsig_seed");
      return -1;
    }
    uint8_t ltsig_sk[crypto_sign_SECRETKEYBYTES];
    if(0!=crypto_sign_seed_keypair(ltsig_pk, ltsig_sk, ltsig_seed)) {
      shell_error(sh, "E failed to derive ltsig keypair");
      return -1;
    }
    sodium_memzero(ltsig_sk,sizeof ltsig_sk);
    sodium_memzero(ltsig_seed,sizeof ltsig_seed);
    uint8_t b64[45];
    size_t olen;
    base64_encode(b64,sizeof b64,&olen,ltsig_pk,sizeof ltsig_pk);
    shell_print(sh, "ltsig pk: %s", b64);
    break;
  }
  case 2: {
    uint8_t noise_sk[32];
    if(0!=load("/lfs/cfg/noise_key", 32, noise_sk)) {
      shell_error(sh, "could not load noise key");
      return -1;
    }
    uint8_t noise_pk[32];
    Noise_XK_dh_secret_to_public(noise_pk, noise_sk);
    uint8_t b64[45];
    size_t olen;
    base64_encode(b64,sizeof b64,&olen,noise_pk,sizeof noise_pk);
    shell_print(sh, "noise pk: %s", b64);
    break;
  }
  case 3: {
#ifdef CONFIG_KLUTSHNIK_BLE
    struct bt_le_oob oob;
    int err = bt_le_oob_get_local(BT_ID_DEFAULT, &oob);
    if (err) {
      shell_error(sh, "Failed to get OOB data (err %d)\n", err);
      return err;
    }
    char addr_s[BT_ADDR_LE_STR_LEN];

    bt_addr_le_to_str(&oob.addr, addr_s, sizeof(addr_s));
    shell_print(sh, "MAC address: %s", addr_s);
#else
    shell_warn(sh, "No MAC, this klutshnik device doesn't do BLE");
#endif // CONFIG_KLUTSHNIK_BLE
    break;
  }
  default: {
    shell_error(sh, "unknown param: %d", cfgtype);
    return -1;
  }
  }

  return 0;
}

SHELL_SUBCMD_DICT_SET_CREATE(sub_getcfg, getcfg_cmd_handler,
    (ltsigpk, 1, "ltsig"), (noisepk, 2, "noise"), (mac, 3, "mac")
);
SHELL_CMD_REGISTER(getcfg, &sub_getcfg, "get public klutshnik config params", NULL);

static int cmd_init_ltsig(const struct shell *sh, size_t argc, char **argv) {
  if(argc!=2) {
    shell_error(sh, "Error: must provide exactly one base64 encoded client ltsig pubkey as parameter");
    return -1;
  }
  const size_t slen = strlen(argv[1]);
  if(slen!=44) {
    shell_error(sh, "Error: must provide exactly one 44 byte long base64 encoded client ltsig pubkey as parameter");
    return -1;
  }
  uint8_t ltsigpk[32];
  size_t olen;
  int err = base64_decode (ltsigpk, sizeof ltsigpk, &olen, argv[1], slen);
  if(err!=0) {
    shell_error(sh, "Error: failed to decode base64 encoded ltsig pubkey: %d", err);
    return -1;
  }
  if(olen!=sizeof ltsigpk) {
    shell_error(sh, "Error: decoded ltsigpk is too short, only %d, instead of expected %d", olen, sizeof ltsigpk);
    return -1;
  }
  fs_mkdir("/lfs/cfg");
  err=save("/lfs/cfg/owner_pk", sizeof ltsigpk, ltsigpk, 0);
  if(0!=err) {
    shell_error(sh, "failed to save authorized client key of initializng client: %d. aborting.", err);
    return -1;
  }
  return 0;
}

static int cmd_init_noise(const struct shell *sh, size_t argc, char **argv) {
  if(argc!=2) {
    shell_error(sh, "Error: must provide exactly one base64 encoded client noise pubkey as parameter");
    return -1;
  }
  const size_t slen = strlen(argv[1]);
  if(slen!=44) {
    shell_error(sh, "Error: must provide exactly one 44 byte long base64 encoded client noise pubkey as parameter");
    return -1;
  }
  uint8_t rec_buf[sizeof(NoiseRec)];
  NoiseRec *noise_rec=(NoiseRec *) rec_buf;
  noise_rec->refs=0xffffffff;
  size_t olen;
  int err = base64_decode (noise_rec->key, sizeof noise_rec->key, &olen, argv[1], slen);
  if(err!=0) {
    shell_error(sh, "Error: failed to decode base64 encoded noise pubkey: %d", err);
    return -1;
  }
  if(olen!=sizeof noise_rec->key) {
    shell_error(sh, "Error: decoded noisepk is too short, only %d, instead of expected %d", olen, sizeof noise_rec->key);
    return -1;
  }
  fs_mkdir("/lfs/cfg");
  err=save("/lfs/cfg/authorized_clients", sizeof rec_buf, rec_buf, FS_O_APPEND);
  if(0!=err) {
    shell_error(sh, "failed to save authorized client noise key of initialing client: %d. aborting.", err);
    return -1;
  }
  return 0;
}

static int cmd_init_check(const struct shell *sh, size_t argc, char **argv) {
  uint8_t res=init_is_incomplete();

  if(res==0) {
    shell_print(sh, "configuration is complete");
    return 0;
  }

  for(int i=0;i<6;i++) {
    int rc = (res >> (i*2)) & 3;
    switch(rc) {
    case 1: {
      shell_error(sh, "FAIL: stat %s", init_files[i].path);
      break;
    }
    case 2: {
      shell_error(sh, "E error %s is not a file", init_files[i].path);
      break;
    }
    case 3: {
      shell_error(sh, "Error: %s is invalid size", init_files[i].path);
      break;
    }
    }
  }

  return -1;
}

static int initkey(const struct shell *sh, const char *path, const size_t key_len, uint8_t *key) {
  struct fs_dirent entry;
  if(0 == fs_stat(path, &entry)) {
    shell_warn(sh, "W %s does exist", path);
    if(entry.size!=key_len) {
      shell_error(sh, "%s has invalid size", path);
      fs_unlink(path);
    } else {
      return 0; //-EEXIST;
    }
  }

  const struct device *rng_dev = DEVICE_DT_GET(DT_CHOSEN(zephyr_entropy));
  if (!device_is_ready(rng_dev)) {
    shell_error(sh, "error: random device not ready");
    int i;
    for(i=0;!device_is_ready(rng_dev) && i<10;i++) k_sleep(K_MSEC(10));
    if(i>=10) return -EAGAIN;
  }
  entropy_get_entropy(rng_dev, (char *)key, key_len);
  crypto_generichash(key,key_len, key,key_len, NULL,0);

  return save(path,key_len,key,0);
}

static int initcfg(const struct shell *sh, size_t argc, char **argv) {
  fs_mkdir("/lfs/cfg");

  int rc;
  uint8_t noise_sk[32];
  rc = initkey(sh, "/lfs/cfg/noise_key", 32, noise_sk);
  if(rc!=0) {
    shell_error(sh, "E failed to init noise_sk");
    return rc;
  }

  uint8_t ltsig_seed[crypto_sign_SEEDBYTES];
  rc = initkey(sh, "/lfs/cfg/ltsig_seed", crypto_sign_SEEDBYTES, ltsig_seed);
  if(rc!=0) {
    shell_error(sh, "E failed to init ltsig_seed");
    return rc;
  }
  uint8_t dummy[crypto_sign_PUBLICKEYBYTES];
  uint8_t ltsig_sk[crypto_sign_SECRETKEYBYTES];
  if(0!=crypto_sign_seed_keypair(dummy, ltsig_sk, ltsig_seed)) {
    shell_error(sh, "E failed to derive ltsig keypair");
    return -1;
  }
  sodium_memzero(ltsig_seed,sizeof ltsig_seed);

  uint8_t authkey_pk[64];
  crypto_sign_ed25519_sk_to_pk(authkey_pk, ltsig_sk);
  Noise_XK_dh_secret_to_public(authkey_pk+32, noise_sk);
  rc = save("/lfs/cfg/authorized_keys", 64, authkey_pk, FS_O_APPEND);
  if(0!=rc) {
    shell_error(sh, "failed to save authorized keys of device: %d. aborting.", rc);
    return rc;
  }

  uint8_t rec_salt[32];
  rc = initkey(sh, "/lfs/cfg/record_salt", 32, rec_salt);
  if(rc!=0) {
    shell_error(sh, "E failed to init record salt");
    return rc;
  }

  shell_print(sh, "initialized device secrets");
  return 0;
}

SHELL_STATIC_SUBCMD_SET_CREATE(sub_init,
                               SHELL_CMD_ARG(ltsig, NULL, SHELL_HELP("Set owner ltsig pubkey.",
                                                                     "<base64 encoded ltsig pubkey>"), cmd_init_ltsig, 2, 0),
                               SHELL_CMD_ARG(noise, NULL, SHELL_HELP("Set owner noise pubkey.",
                                                                     "<base64 encoded noise pubkey>"), cmd_init_noise, 2, 0),
                               SHELL_CMD(check, NULL, SHELL_HELP("Check if config is complete.", ""), cmd_init_check),
                               SHELL_SUBCMD_SET_END
);
SHELL_CMD_REGISTER(init, &sub_init, SHELL_HELP("initialize klutshnik device", " <> | [ltsig <b64>] | [noise <b64>] | [check]\n"
                                               "without param initializes the device keys"), initcfg);


static int cmd_authkey_add(const struct shell *sh, size_t argc, char **argv) {
  if(argc!=2) {
    shell_error(sh, "Error: must provide exactly one base64 encoded authkey line as parameter");
    return -1;
  }
  const size_t slen = strlen(argv[1]);
  if(slen!=88) {
    shell_error(sh, "Error: authkey must be 88 bytes base64 encoded data, this one is %d", slen);
    return -1;
  }
  uint8_t authkey[64];
  size_t olen;
  int err = base64_decode (authkey, sizeof authkey, &olen, argv[1], slen);
  if(err!=0) {
    shell_error(sh, "Error: failed to decode base64 encoded authkey: %d", err);
    return -1;
  }
  if(olen!=sizeof authkey) {
    shell_error(sh, "Error: decoded authkey is too short, only %d, instead of expected %d", olen, sizeof authkey);
    return -1;
  }
  err = save("/lfs/cfg/authorized_keys", sizeof authkey, authkey, FS_O_APPEND);
  if(0!=err) {
    shell_error(sh, "failed to save authorized client key: %d. aborting.", err);
    return -1;
  }
  return 0;
}

static int cmd_authkey_del(const struct shell *sh, size_t argc, char **argv) {
  int ret = fs_unlink("/lfs/cfg/authorized_keys");
  if(ret<0) {
    shell_error(sh, "ERROR unlinking: authorized_keys");
  }
  return 0;
}

static int cmd_authkey_get(const struct shell *sh, size_t argc, char **argv) {
  struct fs_dirent dirent;
  const char fname[]="/lfs/cfg/authorized_keys";
  int rc = fs_stat(fname, &dirent);
  if (rc < 0) {
    if(rc == -ENOENT) return 0;
    shell_error(sh, "FAIL: stat %s: %d", fname, rc);
    return rc;
  } else {
    if(dirent.type != FS_DIR_ENTRY_FILE) {
      shell_error(sh, "E error %s is not a file", fname);
      return -EISDIR;
    }
  }
  if(dirent.size == 0) {
    shell_error(sh, "Error: authorized_keys is empty");
    return -ENODATA;
  }
  if(dirent.size % 64 != 0) {
    shell_error(sh, "Error: authorized_keys has an invalid length (not 0 mod 64)");
    return -EINVAL;
  }

  struct fs_file_t file;
  fs_file_t_init(&file);
  rc = fs_open(&file, fname, FS_O_READ);
  if (rc < 0) {
    shell_error(sh, "FAIL: open %s: %d", fname, rc);
    return rc;
  }

  uint8_t authkey[64];
  uint8_t authkey_b64[89];
  size_t olen;
  for(int i=0;i<dirent.size / 64;i++) {
    rc = fs_read(&file, authkey, 64);
    if (rc < 0) {
      shell_error(sh, "FAIL: read %s: %d", fname, rc);
      goto out;
    }
    if(rc!=64) {
      shell_error(sh, "FAIL: short read only %dB instead of 64B", rc);
      return -EINVAL;
    }
    base64_encode(authkey_b64,sizeof authkey_b64,&olen,authkey,sizeof authkey);
    shell_print(sh, "%s",authkey_b64);
  }

 out:
  int ret = fs_close(&file);
  if (ret < 0) {
    shell_error(sh, "FAIL: close %s: %d", fname, ret);
    return ret;
  }
  return 0;
}

SHELL_STATIC_SUBCMD_SET_CREATE(sub_authkey,
                               SHELL_CMD_ARG(add, NULL, "Add an authorized_keys item.", cmd_authkey_add, 2, 0),
                               SHELL_CMD(get, NULL, "Get contents of authorized_keys.", cmd_authkey_get),
                               SHELL_CMD(del, NULL, "Delete authorized_keys file.", cmd_authkey_del),
                               SHELL_SUBCMD_SET_END
);
SHELL_CMD_REGISTER(authkey, &sub_authkey, "manage klutshnik authorized_keys", NULL);
```

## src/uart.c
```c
/*
 * SPDX-FileCopyrightText: 2025, Marsiske Stefan
 * SPDX-License-Identifier: LGPL-3.0-or-later
 */

#ifdef CONFIG_KLUTSHNIK_USB_CDC

#include <zephyr/kernel.h>
#include <zephyr/device.h>
#include <zephyr/drivers/uart.h>
#include <zephyr/sys/ring_buffer.h>
#include <zephyr/logging/log.h>
#include <zephyr/logging/log_ctrl.h>
#include <zephyr/sys/reboot.h>

#include "XK.h"

LOG_MODULE_REGISTER(klutshnik_uart, CONFIG_KLUTSHNIK_LOG_LEVEL);

#include "klutshnik.h"

const struct device * uart_dev = DEVICE_DT_GET(DT_NODELABEL(cdc_acm_uart1));

//struct ring_buf ringbuf;
//static bool rx_throttled;

void dtr_monitor(void) {
  uint32_t dtr = 0;
  while (1) {
    uart_line_ctrl_get(uart_dev, UART_LINE_CTRL_DTR, &dtr);
    if(dtr && kstate == DISCONNECTED) {
      LOG_INF("usb-cdc uart connected");
      //log_flush();
      kstate=CONNECTED;
    }
    else if(!dtr && kstate == CONNECTED) {
      LOG_INF("usb-cdc uart disconnected");
      //log_flush();
      kstate=DISCONNECTED;
      //inbuf_end=0;
      //inbuf_start=0;
    }
    k_sleep(K_MSEC(10));
  }
}

#define DTR_MONITOR_PRIORITY 5
#define DTR_MONITOR_STACK_SIZE 512

K_THREAD_DEFINE(dtr_monitor_tid, DTR_MONITOR_STACK_SIZE,
                dtr_monitor, NULL, NULL, NULL,
                DTR_MONITOR_PRIORITY, 0, 0);


int send_plaintext(const uint8_t *msg, const size_t len) {
  k_thread_suspend(dtr_monitor_tid);
  for(size_t i = 0;i<len;i++) {
    uart_poll_out(uart_dev, msg[i]);
    if(i%768==0) k_sleep(K_MSEC(10));
  }
  k_thread_resume(dtr_monitor_tid);
  LOG_INF("sent %dB", len);
  log_flush();
  return 0;
}

int send(const uint8_t *msg, const size_t msg_len) {
  //LOG_DBG("send: %d", msg_len);
  Noise_XK_encap_message_t *encap_msg=NULL;

  encap_msg = Noise_XK_pack_message_with_conf_level(NOISE_XK_CONF_STRONG_FORWARD_SECRECY, msg_len, (uint8_t*) msg);
  if(encap_msg==NULL) {
    LOG_ERR("send encap_msg==NULL");
    return -1;
  }

  Noise_XK_rcode res;
  uint8_t *cipher_msg;
  uint32_t cipher_msg_len;

  res = Noise_XK_session_write(encap_msg, session, &cipher_msg_len, &cipher_msg);
  Noise_XK_encap_message_p_free(encap_msg);
  if(!Noise_XK_rcode_is_success(res)) {
    LOG_ERR("failed to wrap encrypted message");
    return -1;
  }

  int err= send_plaintext(cipher_msg, cipher_msg_len);
  if (cipher_msg_len > 0) free(cipher_msg);
  if(err == -ENOTCONN) {
    Noise_XK_session_free(session);
    Noise_XK_device_free(dev);
    return err;
  } else if (err < 0) {
    LOG_ERR("error sending msg: %d", err);
    log_flush();
    k_sleep(K_MSEC(50));
    sys_reboot(SYS_REBOOT_COLD);
  }

  //LOG_DBG("sent", msg_len);
  return err;
}

int send_pkt(const uint8_t *msg, const size_t msg_len) {
  uint8_t size[2] = { (msg_len >> 8) & 0xff, msg_len & 0xff } ;
  int ret = send(size, 2);
  if(ret < 0) {
    LOG_ERR("failed to send size of message");
    return ret;
  }
  ret = send(msg, msg_len);
  if(ret < 0) {
    LOG_ERR("failed to send message");
    return ret;
  }
  return 0;
}

int is_connected(void) {
  int dtr;
  uart_line_ctrl_get(uart_dev, UART_LINE_CTRL_DTR, &dtr);
  return dtr;
}

int read_raw(const size_t size) {
  if(inbuf_end+size >= sizeof(inbuf)) return -EOVERFLOW;
  int64_t timeout = 3;

  k_thread_suspend(dtr_monitor_tid);
  for(size_t i=0;i<size;) {
    int64_t start = k_uptime_get();
    while(-1==uart_poll_in(uart_dev,&inbuf[inbuf_end])) {
      if(!is_connected()) {
        kstate=DISCONNECTED;
        k_thread_resume(dtr_monitor_tid);
        return -ENOTCONN;
      }
      int64_t startcopy=start;
      if( k_uptime_delta(&startcopy)/MSEC_PER_SEC > timeout) {
        LOG_ERR("read_raw(%d) timeout [%d,%d]", size, inbuf_start, inbuf_end);
        log_flush();
        k_thread_resume(dtr_monitor_tid);
        return -ETIMEDOUT;
      }
      k_sleep(K_MSEC(10));
    }
    inbuf_end++;
    i++;
  }
  k_thread_resume(dtr_monitor_tid);
  LOG_INF("read_raw(%d) [%d,%d]", size, inbuf_start, inbuf_end);
  //log_flush();
  return 0;
}

int read(size_t size, uint8_t **buf) {
  //if(!is_connected()) kstate=DISCONNECTED;
  //if(kstate!=CONNECTED) return -ENOTCONN;
  //LOG_DBG("read: %d", size);
  //int64_t timeout = 3;
  //int64_t start = k_uptime_get();
  size_t plen = 0;

  if(0!=read_raw(2)) return -ETIMEDOUT;

  plen = (inbuf[inbuf_start]<<8 | inbuf[inbuf_start+1]);
  LOG_INF("read(%d), plen=%d, [%d,%d]", size, plen, inbuf_start, inbuf_end);
  log_flush();
  if(plen >= sizeof(inbuf) - inbuf_start) return -EOVERFLOW;
  if(size==0) {
    size=plen-16;
  } else if(plen!=size+16) {
    LOG_ERR("E plen: %d, size+16 = %d", plen, size+16);
    return -EMSGSIZE;
  }

  if(0!=read_raw(plen)) return -ETIMEDOUT;

  //LOG_DBG("read: done");

  Noise_XK_encap_message_t *encap_msg;
  Noise_XK_rcode res;
  uint32_t plain_msg_len;

  res = Noise_XK_session_read(&encap_msg, session, size+16, inbuf+inbuf_start+2);
  if(!Noise_XK_rcode_is_success(res)) {
    LOG_ERR("failed to noise pkt");
    return -1;
  }
  if(!Noise_XK_unpack_message_with_auth_level(&plain_msg_len, buf, NOISE_XK_AUTH_KNOWN_SENDER_NO_KCI, encap_msg)) {
    LOG_ERR("failed to unpack noise pkt");
    Noise_XK_encap_message_p_free(encap_msg);
    return -1;
  }
  Noise_XK_encap_message_p_free(encap_msg);
  if(plain_msg_len!=size) {
    LOG_ERR("pml != s : %d != %d", plain_msg_len, size);
    return -EMSGSIZE;
  }

  inbuf_start += plen+2;
  if(inbuf_start == inbuf_end) {
    inbuf_start=0;
    inbuf_end=0;
  } else if(inbuf_start > inbuf_end) return -EINVAL;

  //LOG_DBG("decrypted");
  return plain_msg_len;
}

int uart_init(CFG *cfg) {
  LOG_INF("waiting until CDC device is ready");
  log_flush();
  if (!device_is_ready(uart_dev)) {
    LOG_ERR("CDC ACM device not ready");
    return -1;
  }

  LOG_INF("monitor tid: %d", dtr_monitor_tid);
  log_flush();

  uint8_t tmp[32];
  Noise_XK_dh_secret_to_public(tmp, cfg->noise_sk);
  printb64("noise pk",32,tmp);
  crypto_sign_ed25519_sk_to_pk(tmp,cfg->ltsig_sk);
  printb64("ltsig pk",32,tmp);

  return 0;
}

#endif // CONFIG_KLUTSHNIK_USB_CDC
```

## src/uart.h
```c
#ifndef KLUTSHNIK_UART_H
#define KLUTSHNIK_UART_H

#include "klutshnik.h"

int uart_init(CFG *cfg);
int is_connected(void);
int read_raw(const size_t size);

#endif // KLUTSHNIK_UART_H
```
